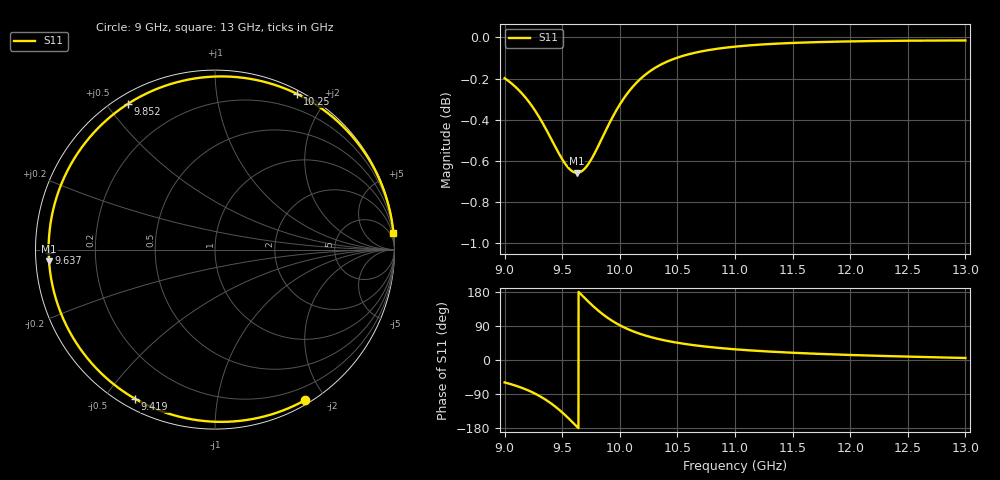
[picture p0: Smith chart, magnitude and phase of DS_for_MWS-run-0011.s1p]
! TOUCHSTONE file generated by CST DESIGN STUDIO
! Date and time: Tue Feb  4 18:07:24 2025
! Project name: C:\Work\MatlabApps\UnitCellOptimizationMatlab\CST\unitcell.cst
! Tree item: Tasks\Sweep1\SPara1\S-Parameters
! Header version: 2024
! Port assignment regex: !\s*Touchstone port\s*([0-9]+)\s*=\s*(CST MWS port|CST DES external port|CST DES block port)\s*(.+)\s* \(\"(.*)\"\)(\s*mode\s*([0-9]+))?.*
! Touchstone port assignment:
! Touchstone port 1 = CST DES external port 1 ("")
# GHz S MA R 50
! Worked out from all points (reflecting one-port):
!   4001 points, 9 GHz to 13 GHz, reference 50 ohm
!   lowest |S11| = -0.7 dB at 9.628 GHz (marker M1), VSWR 26.40, Z = 1.9 - j1.76 ohm
!   phase of S11 starts at -59 deg and turns -296 deg over the sweep
!   S11 on the Smith chart (normalised r, x): 9 GHz: 0.05, -1.76; 9.419 GHz: 0.04, -0.60; 9.637 GHz: 0.04, -0.01; 9.852 GHz: 0.04, +0.57; 10.25 GHz: 0.04, +1.66; 13 GHz: 0, +22
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9  0.9774 -59.1
9.105  0.972 -68.6
9.211  0.9646 -81.1
9.273  0.959 -90.1
9.326  0.9536 -99.1
9.374  0.9483 -108.3
9.419  0.9431 -118.1
9.46  0.9384 -127.9
9.5  0.9341 -138.3
9.568  0.9287 -157.7
9.628  0.927 -176.0
9.637  0.9271 -178.7
9.682  0.9284 167.4
9.73  0.9319 153.1
9.792  0.9385 135.8
9.852  0.9459 120.8
9.921  0.9545 105.9
10  0.9631 91.7
10.119  0.9732 75.3
10.248  0.9806 62.2
10.365  0.9852 53.4
10.5  0.9888 45.5
10.72  0.9924 36.2
11  0.9948 28.2
11.5  0.9969 19.1
12  0.9978 13.3
12.5  0.9982 8.9
13  0.9983 5.3
